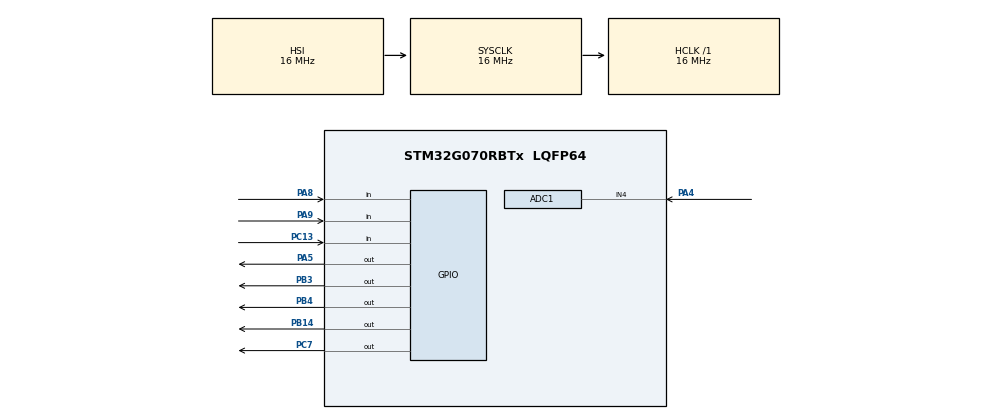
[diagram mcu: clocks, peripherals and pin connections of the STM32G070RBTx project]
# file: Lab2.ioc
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ADC1.Channel-0\#ChannelRegularConversion=ADC_CHANNEL_4
ADC1.NbrOfConversionFlag=1
ADC1.Rank-0\#ChannelRegularConversion=1
ADC1.SamplingTime-0\#ChannelRegularConversion=ADC_SAMPLINGTIME_COMMON_1
ADC1.SelectedChannel=ADC_CHANNEL_4
ADC1.master=1
Mcu.Family=STM32G0
Mcu.Name=STM32G070RBTx
Mcu.Package=LQFP64
NVIC.ADC1_IRQn=true\:0\:0\:false\:false\:true\:true\:true
PA4.Mode=IN4
PA4.Signal=ADC1_IN4
PA5.Signal=GPIO_Output
PA8.Signal=GPIO_Input
PA9.Signal=GPIO_Input
PB14.Signal=GPIO_Output
PB3.Signal=GPIO_Output
PB4.Signal=GPIO_Output
PC13.Signal=GPIO_Input
PC7.Signal=GPIO_Output
ProjectManager.HeapSize=0x200
ProjectManager.StackSize=0x400
ProjectManager.TargetToolchain=EWARM V8.32
RCC.AHBFreq_Value=16000000
RCC.CortexFreq_Value=16000000
RCC.EXTERNAL_CLOCK_VALUE=48000
RCC.HCLKFreq_Value=16000000
RCC.HSE_VALUE=8000000
RCC.HSI_VALUE=16000000
RCC.LSE_VALUE=32768
RCC.SYSCLKFreq_VALUE=16000000
RCC.VCOOutputFreq_Value=128000000
VP_SYS_VS_DBSignals.Mode=DisableDeadBatterySignals
board=custom

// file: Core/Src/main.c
/* USER CODE BEGIN Header */
/**
  ******************************************************************************
  * @file           : main.c
  * @brief          : Main program body
  ******************************************************************************
  * @attention
  *
  * <h2><center>&copy; Copyright (c) 2021 STMicroelectronics.
  * All rights reserved.</center></h2>
  *
  * This software component is licensed by ST under BSD 3-Clause license,
  * the "License"; You may not use this file except in compliance with the
  * License. You may obtain a copy of the License at:
  *                        opensource.org/licenses/BSD-3-Clause
  *
  ******************************************************************************
  */
/* USER CODE END Header */
#include "main.h"

ADC_HandleTypeDef hadc1;

/* USER CODE BEGIN PV */
// scheduler stuff
extern uint8_t ten_mS_Flag;
extern uint8_t twentyfive_mS_Flag;
extern uint8_t hundred_mS_Flag;
extern uint8_t one_S_Flag;

// LED Stuff
uint8_t ledSeq = 0;

// Button Stuff
uint8_t buttons = 0x07;

// ADC Stuff
uint16_t adcValue;

/* USER CODE END PV */

void SystemClock_Config(void);
static void MX_GPIO_Init(void);
static void MX_ADC1_Init(void);

int main(void)
{

  /* MCU Configuration--------------------------------------------------------*/

  /* Reset of all peripherals, Initializes the Flash interface and the Systick. */
  HAL_Init();

  /* Configure the system clock */
  SystemClock_Config();

  /* Initialize all configured peripherals */
  MX_GPIO_Init();
  MX_ADC1_Init();

  /* Infinite loop */
  /* USER CODE BEGIN WHILE */
  while (1)
  {

    //---------------------------------
    // 10mS Tasks
    if (ten_mS_Flag) {
      ten_mS_Flag = false;

    }  // end of 10mS Tasks
    //---------------------------------

    //---------------------------------
    // 25mS Tasks
    if (twentyfive_mS_Flag) {
      twentyfive_mS_Flag = false;

      buttons = (HAL_GPIO_ReadPin(GPIOA, GPIO_PIN_8) << 2) | (HAL_GPIO_ReadPin(GPIOA, GPIO_PIN_9) << 1) | (HAL_GPIO_ReadPin(GPIOC, GPIO_PIN_13) << 0) ;

    }  // end of 25mS Tasks
    //---------------------------------

    //---------------------------------
    // 100mS Tasks
    if (hundred_mS_Flag) {
      hundred_mS_Flag = false;

      HAL_ADC_Start_IT(&hadc1);

    }  // end of 100mS Tasks
    //---------------------------------

    //---------------------------------
    // 1 Sec Tasks
    if (one_S_Flag) {
      one_S_Flag = false;

      switch (ledSeq++) {
      case 0:
        HAL_GPIO_WritePin(GPIOB, GPIO_PIN_3, GPIO_PIN_SET);
        break;
      case 1:
        HAL_GPIO_WritePin(GPIOB, GPIO_PIN_14, GPIO_PIN_SET);
        break;
      case 2:
        HAL_GPIO_WritePin(GPIOB, GPIO_PIN_4, GPIO_PIN_SET);
        break;
      case 3:
        HAL_GPIO_WritePin(GPIOC, GPIO_PIN_7, GPIO_PIN_SET);
        break;
      case 4:
        HAL_GPIO_WritePin(GPIOA, GPIO_PIN_5, GPIO_PIN_SET);
        break;
      case 5:
        HAL_GPIO_WritePin(GPIOB, GPIO_PIN_3, GPIO_PIN_RESET);
        break;
      case 6:
        HAL_GPIO_WritePin(GPIOB, GPIO_PIN_14, GPIO_PIN_RESET);
        break;
      case 7:
        HAL_GPIO_WritePin(GPIOB, GPIO_PIN_4, GPIO_PIN_RESET);
        break;
      case 8:
        HAL_GPIO_WritePin(GPIOC, GPIO_PIN_7, GPIO_PIN_RESET);
        break;
      case 9:
        HAL_GPIO_WritePin(GPIOA, GPIO_PIN_5, GPIO_PIN_RESET);
        ledSeq = 0;
        break;
      default:
        break;
      }

    } // end of 1Sec Tasks
    //---------------------------------

    //---------------------------------
    // Every time through the loop

    // end Every time through the loop
    //---------------------------------

    /* USER CODE END WHILE */

  }
}

void SystemClock_Config(void)
{
  RCC_OscInitTypeDef RCC_OscInitStruct = {0};
  RCC_ClkInitTypeDef RCC_ClkInitStruct = {0};
  RCC_PeriphCLKInitTypeDef PeriphClkInit = {0};

  /** Configure the main internal regulator output voltage
  */
  HAL_PWREx_ControlVoltageScaling(PWR_REGULATOR_VOLTAGE_SCALE1);
  /** Initializes the RCC Oscillators according to the specified parameters
  * in the RCC_OscInitTypeDef structure.
  */
  RCC_OscInitStruct.OscillatorType = RCC_OSCILLATORTYPE_HSI;
  RCC_OscInitStruct.HSIState = RCC_HSI_ON;
  RCC_OscInitStruct.HSIDiv = RCC_HSI_DIV1;
  RCC_OscInitStruct.HSICalibrationValue = RCC_HSICALIBRATION_DEFAULT;
  RCC_OscInitStruct.PLL.PLLState = RCC_PLL_NONE;
  if (HAL_RCC_OscConfig(&RCC_OscInitStruct) != HAL_OK)
  {
    Error_Handler();
  }
  /** Initializes the CPU, AHB and APB buses clocks
  */
  RCC_ClkInitStruct.ClockType = RCC_CLOCKTYPE_HCLK|RCC_CLOCKTYPE_SYSCLK
                              |RCC_CLOCKTYPE_PCLK1;
  RCC_ClkInitStruct.SYSCLKSource = RCC_SYSCLKSOURCE_HSI;
  RCC_ClkInitStruct.AHBCLKDivider = RCC_SYSCLK_DIV1;
  RCC_ClkInitStruct.APB1CLKDivider = RCC_HCLK_DIV1;

  if (HAL_RCC_ClockConfig(&RCC_ClkInitStruct, FLASH_LATENCY_0) != HAL_OK)
  {
    Error_Handler();
  }
  /** Initializes the peripherals clocks
  */
  PeriphClkInit.PeriphClockSelection = RCC_PERIPHCLK_ADC;
  PeriphClkInit.AdcClockSelection = RCC_ADCCLKSOURCE_SYSCLK;
  if (HAL_RCCEx_PeriphCLKConfig(&PeriphClkInit) != HAL_OK)
  {
    Error_Handler();
  }
}

static void MX_ADC1_Init(void)
{

  ADC_ChannelConfTypeDef sConfig = {0};

  /** Configure the global features of the ADC (Clock, Resolution, Data Alignment and number of conversion)
  */
  hadc1.Instance = ADC1;
  hadc1.Init.ClockPrescaler = ADC_CLOCK_SYNC_PCLK_DIV2;
  hadc1.Init.Resolution = ADC_RESOLUTION_12B;
  hadc1.Init.DataAlign = ADC_DATAALIGN_RIGHT;
  hadc1.Init.ScanConvMode = ADC_SCAN_DISABLE;
  hadc1.Init.EOCSelection = ADC_EOC_SINGLE_CONV;
  hadc1.Init.LowPowerAutoWait = DISABLE;
  hadc1.Init.LowPowerAutoPowerOff = DISABLE;
  hadc1.Init.ContinuousConvMode = DISABLE;
  hadc1.Init.NbrOfConversion = 1;
  hadc1.Init.DiscontinuousConvMode = DISABLE;
  hadc1.Init.ExternalTrigConv = ADC_SOFTWARE_START;
  hadc1.Init.ExternalTrigConvEdge = ADC_EXTERNALTRIGCONVEDGE_NONE;
  hadc1.Init.DMAContinuousRequests = DISABLE;
  hadc1.Init.Overrun = ADC_OVR_DATA_PRESERVED;
  hadc1.Init.SamplingTimeCommon1 = ADC_SAMPLETIME_1CYCLE_5;
  hadc1.Init.SamplingTimeCommon2 = ADC_SAMPLETIME_1CYCLE_5;
  hadc1.Init.OversamplingMode = DISABLE;
  hadc1.Init.TriggerFrequencyMode = ADC_TRIGGER_FREQ_HIGH;
  if (HAL_ADC_Init(&hadc1) != HAL_OK)
  {
    Error_Handler();
  }
  /** Configure Regular Channel
  */
  sConfig.Channel = ADC_CHANNEL_4;
  sConfig.Rank = ADC_REGULAR_RANK_1;
  sConfig.SamplingTime = ADC_SAMPLINGTIME_COMMON_1;
  if (HAL_ADC_ConfigChannel(&hadc1, &sConfig) != HAL_OK)
  {
    Error_Handler();
  }

}

static void MX_GPIO_Init(void)
{
  GPIO_InitTypeDef GPIO_InitStruct = {0};

  /* GPIO Ports Clock Enable */
  __HAL_RCC_GPIOC_CLK_ENABLE();
  __HAL_RCC_GPIOA_CLK_ENABLE();
  __HAL_RCC_GPIOB_CLK_ENABLE();

  /*Configure GPIO pin Output Level */
  HAL_GPIO_WritePin(GPIOA, GPIO_PIN_5, GPIO_PIN_RESET);

  /*Configure GPIO pin Output Level */
  HAL_GPIO_WritePin(GPIOB, GPIO_PIN_14|GPIO_PIN_3|GPIO_PIN_4, GPIO_PIN_RESET);

  /*Configure GPIO pin Output Level */
  HAL_GPIO_WritePin(GPIOC, GPIO_PIN_7, GPIO_PIN_RESET);

  /*Configure GPIO pin : PC13 */
  GPIO_InitStruct.Pin = GPIO_PIN_13;
  GPIO_InitStruct.Mode = GPIO_MODE_INPUT;
  GPIO_InitStruct.Pull = GPIO_NOPULL;
  HAL_GPIO_Init(GPIOC, &GPIO_InitStruct);

  /*Configure GPIO pin : PA5 */
  GPIO_InitStruct.Pin = GPIO_PIN_5;
  GPIO_InitStruct.Mode = GPIO_MODE_OUTPUT_PP;
  GPIO_InitStruct.Pull = GPIO_NOPULL;
  GPIO_InitStruct.Speed = GPIO_SPEED_FREQ_LOW;
  HAL_GPIO_Init(GPIOA, &GPIO_InitStruct);

  /*Configure GPIO pins : PB14 PB3 PB4 */
  GPIO_InitStruct.Pin = GPIO_PIN_14|GPIO_PIN_3|GPIO_PIN_4;
  GPIO_InitStruct.Mode = GPIO_MODE_OUTPUT_PP;
  GPIO_InitStruct.Pull = GPIO_NOPULL;
  GPIO_InitStruct.Speed = GPIO_SPEED_FREQ_LOW;
  HAL_GPIO_Init(GPIOB, &GPIO_InitStruct);

  /*Configure GPIO pins : PA8 PA9 */
  GPIO_InitStruct.Pin = GPIO_PIN_8|GPIO_PIN_9;
  GPIO_InitStruct.Mode = GPIO_MODE_INPUT;
  GPIO_InitStruct.Pull = GPIO_NOPULL;
  HAL_GPIO_Init(GPIOA, &GPIO_InitStruct);

  /*Configure GPIO pin : PC7 */
  GPIO_InitStruct.Pin = GPIO_PIN_7;
  GPIO_InitStruct.Mode = GPIO_MODE_OUTPUT_PP;
  GPIO_InitStruct.Pull = GPIO_NOPULL;
  GPIO_InitStruct.Speed = GPIO_SPEED_FREQ_LOW;
  HAL_GPIO_Init(GPIOC, &GPIO_InitStruct);

}

void Error_Handler(void)
{
  __disable_irq();
  while (1)
  {
  }
}

/************************ (C) COPYRIGHT STMicroelectronics *****END OF FILE****/
